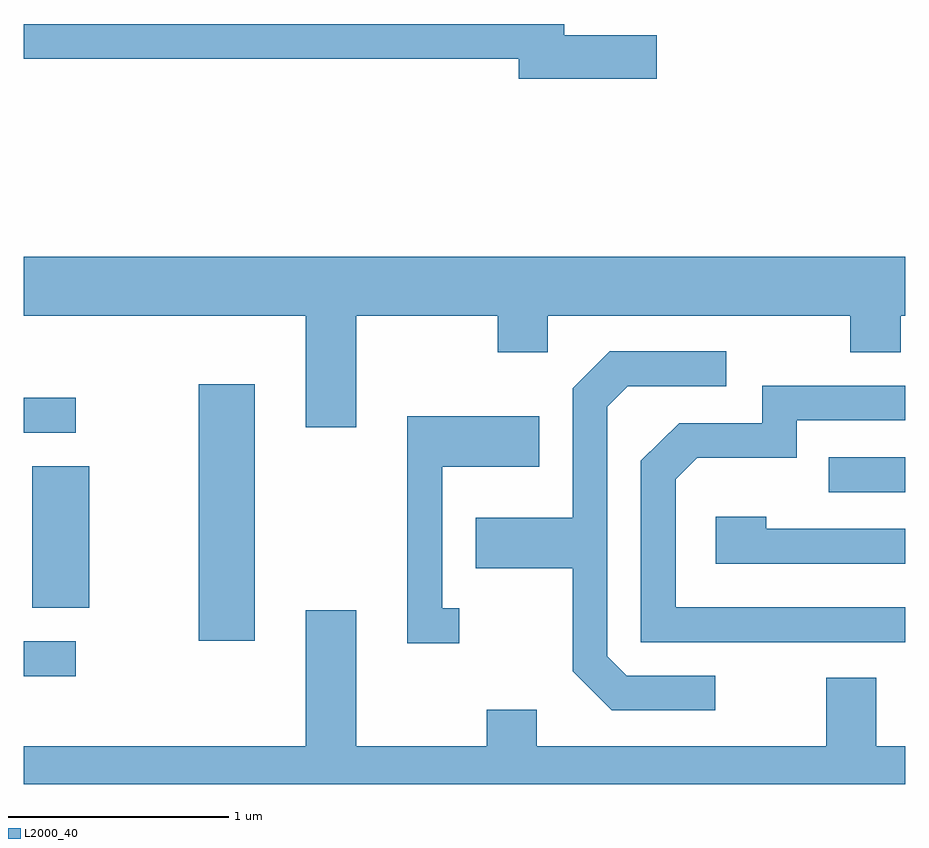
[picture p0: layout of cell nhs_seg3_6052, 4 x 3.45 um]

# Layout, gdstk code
import gdstk
lib = gdstk.Library(unit=1e-6, precision=1e-09)
def R(c, l, rs):  # rectangles x0, y0, x1, y1
    for r in rs: c.add(gdstk.rectangle(r[:2], r[2:], *l))
def P(c, l, *ps):  # polygons
    for p in ps: c.add(gdstk.Polygon(p, *l))
L2000_40 = (2000, 40)

nhs_seg3_6052 = lib.new_cell('nhs_seg3_6052')
R(nhs_seg3_6052, L2000_40, [(363.611,1124.381,363.848,1124.539), (364.406,1124.541,364.659,1125.704), (363.651,1124.691,363.909,1125.334), (367.263,1125.216,367.611,1125.374), (363.611,1125.486,363.848,1125.644)])
P(nhs_seg3_6052, L2000_40, [(366.484,1127.289),(366.064,1127.289),(366.064,1127.339),(363.611,1127.339),(363.611,1127.181),(365.856,1127.181),(365.856,1127.091),(366.484,1127.091)],
  [(365.119,1126.016),(365.761,1126.016),(365.761,1125.851),(365.989,1125.851),(365.989,1126.016),(367.361,1126.016),(367.361,1125.851),(367.589,1125.851),(367.589,1126.016),(367.611,1126.016),(367.611,1126.284),(363.611,1126.284),(363.611,1126.016),(364.891,1126.016),(364.891,1125.511),(365.119,1125.511)],
  [(366.748,1124.384),(366.347,1124.384),(366.259,1124.472),(366.259,1125.604),(366.352,1125.696),(366.798,1125.696),(366.798,1125.854),(366.269,1125.854),(366.101,1125.687),(366.101,1125.099),(365.661,1125.099),(365.661,1124.871),(366.101,1124.871),(366.101,1124.404),(366.279,1124.226),(366.748,1124.226)],
  [(367.611,1124.694),(366.569,1124.694),(366.569,1125.274),(366.667,1125.371),(367.119,1125.371),(367.119,1125.541),(367.611,1125.541),(367.611,1125.699),(366.961,1125.699),(366.961,1125.529),(366.584,1125.529),(366.411,1125.357),(366.411,1124.536),(367.611,1124.536)],
  [(365.588,1124.689),(365.509,1124.689),(365.509,1125.331),(365.949,1125.331),(365.949,1125.559),(365.351,1125.559),(365.351,1124.531),(365.588,1124.531)],
  [(367.611,1125.049),(366.979,1125.049),(366.979,1125.104),(366.751,1125.104),(366.751,1124.891),(367.611,1124.891)],
  [(367.611,1124.064),(367.479,1124.064),(367.479,1124.374),(367.251,1124.374),(367.251,1124.064),(365.939,1124.064),(365.939,1124.229),(365.711,1124.229),(365.711,1124.064),(365.119,1124.064),(365.119,1124.679),(364.891,1124.679),(364.891,1124.064),(363.611,1124.064),(363.611,1123.892),(367.611,1123.892)])

lib.write_gds('nhs_seg3_6052.gds')
